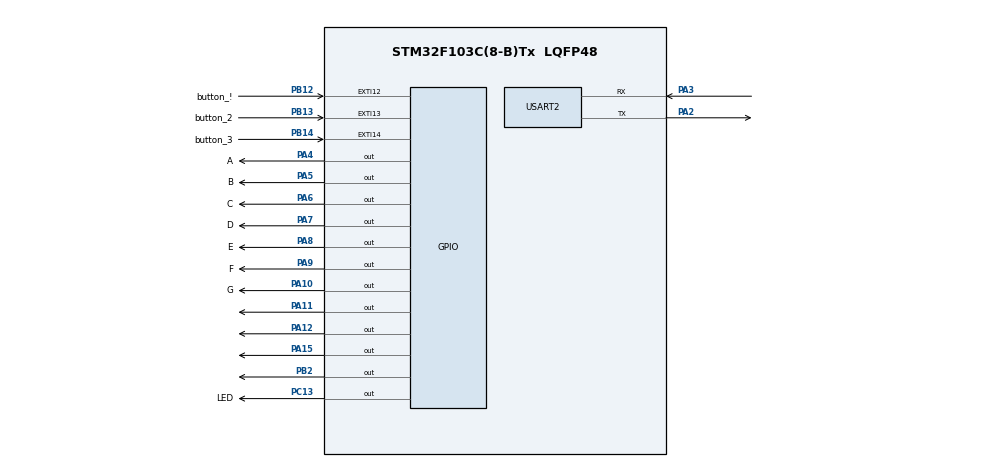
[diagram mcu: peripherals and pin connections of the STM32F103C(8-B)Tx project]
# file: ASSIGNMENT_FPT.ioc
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Mcu.Family=STM32F1
Mcu.Name=STM32F103C(8-B)Tx
Mcu.Package=LQFP48
NVIC.EXTI15_10_IRQn=true\:0\:0\:false\:false\:true\:true\:true
NVIC.PriorityGroup=NVIC_PRIORITYGROUP_4
NVIC.USART2_IRQn=true\:0\:0\:false\:false\:true\:true\:true
PA10.GPIO_Label=G
PA10.PinState=GPIO_PIN_SET
PA10.Signal=GPIO_Output
PA11.PinState=GPIO_PIN_RESET
PA11.Signal=GPIO_Output
PA12.PinState=GPIO_PIN_RESET
PA12.Signal=GPIO_Output
PA13.Mode=Serial_Wire
PA13.Signal=SYS_JTMS-SWDIO
PA14.Mode=Serial_Wire
PA14.Signal=SYS_JTCK-SWCLK
PA15.PinState=GPIO_PIN_RESET
PA15.Signal=GPIO_Output
PA2.Mode=Asynchronous
PA2.Signal=USART2_TX
PA3.Mode=Asynchronous
PA3.Signal=USART2_RX
PA4.GPIO_Label=A
PA4.PinState=GPIO_PIN_SET
PA4.Signal=GPIO_Output
PA5.GPIO_Label=B
PA5.PinState=GPIO_PIN_SET
PA5.Signal=GPIO_Output
PA6.GPIO_Label=C
PA6.PinState=GPIO_PIN_SET
PA6.Signal=GPIO_Output
PA7.GPIO_Label=D
PA7.PinState=GPIO_PIN_SET
PA7.Signal=GPIO_Output
PA8.GPIO_Label=E
PA8.PinState=GPIO_PIN_SET
PA8.Signal=GPIO_Output
PA9.GPIO_Label=F
PA9.PinState=GPIO_PIN_SET
PA9.Signal=GPIO_Output
PB12.GPIO_Label=button_\!
PB12.GPIO_PuPd=GPIO_PULLUP
PB12.Signal=GPXTI12
PB13.GPIO_Label=button_2
PB13.GPIO_PuPd=GPIO_PULLUP
PB13.Signal=GPXTI13
PB14.GPIO_Label=button_3
PB14.GPIO_PuPd=GPIO_PULLUP
PB14.Signal=GPXTI14
PB2.PinState=GPIO_PIN_RESET
PB2.Signal=GPIO_Output
PC13-TAMPER-RTC.GPIO_Label=LED
PC13-TAMPER-RTC.PinState=GPIO_PIN_SET
PC13-TAMPER-RTC.Signal=GPIO_Output
ProjectManager.HeapSize=0x200
ProjectManager.StackSize=0x400
ProjectManager.TargetToolchain=STM32CubeIDE
RCC.APB1Freq_Value=8000000
RCC.APB2Freq_Value=8000000
USART2.VirtualMode=VM_ASYNC
VP_TIM3_VS_ControllerModeClock.Mode=Clock Mode
board=custom

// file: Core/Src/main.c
/* USER CODE BEGIN Header */
/**
  ******************************************************************************
  * @file           : main.c
  * @brief          : Main program body
  ******************************************************************************
  * @attention
  *
  * <h2><center>&copy; Copyright (c) 2026 STMicroelectronics.
  * All rights reserved.</center></h2>
  *
  * This software component is licensed by ST under BSD 3-Clause license,
  * the "License"; You may not use this file except in compliance with the
  * License. You may obtain a copy of the License at:
  *                        opensource.org/licenses/BSD-3-Clause
  *
  ******************************************************************************
  */
/* USER CODE END Header */
#include "main.h"

/* USER CODE BEGIN Includes */
#include <string.h>
#include <stdint.h>
/* USER CODE END Includes */

/* USER CODE BEGIN PD */
#define TRUE 1
#define FALSE 0
/* USER CODE END PD */

UART_HandleTypeDef huart2;

/* USER CODE BEGIN PV */
volatile uint32_t count = 0;
volatile uint32_t speed = 1000;
/* USER CODE END PV */

void SystemClock_Config(void);
static void MX_GPIO_Init(void);
static void MX_USART2_UART_Init(void);
static void MX_TIM3_Init(void);
/* USER CODE BEGIN PFP */
TIM_HandleTypeDef htimer2;
void TIMER2_Init(void);
/* USER CODE END PFP */

/* USER CODE BEGIN 0 */

#define zero  0x40 // 0
#define one   0x79 // 1
#define two   0x24 // 2
#define three 0x30 // 3
#define four  0x19 // 4
#define five  0x12 // 5
#define six   0x02 // 6
#define seven 0x78 // 7
#define eight 0x00 // 8
#define nine  0x10 // 9

uint8_t numbers[] = {
    zero, one, two, three, four, five, six, seven, eight, nine
};

void displaynumbers(uint8_t number)
{
    if (number > 9) return;
    HAL_GPIO_WritePin(GPIOA, GPIO_PIN_11, GPIO_PIN_SET);
    GPIOA->ODR |= (0x7F << 4);
    GPIOA->ODR &= ~((~numbers[number] & 0x7F) << 4);
}

typedef enum
{

  BUTTON_START = 1u,
  BUTTON_PAUSE,
  BUTTON_RESUME,
  BUTTON_RESET
} Button1_State;
int state_of_button1 = 0;
int state_of_button2 = 0;

/* USER CODE END 0 */

int main(void)
{

  /* MCU Configuration--------------------------------------------------------*/

  /* Reset of all peripherals, Initializes the Flash interface and the Systick. */
  HAL_Init();

  /* USER CODE BEGIN Init */
  TIMER2_Init();

  /* USER CODE END Init */

  /* Configure the system clock */
  SystemClock_Config();

  /* Initialize all configured peripherals */
  MX_GPIO_Init();
  MX_USART2_UART_Init();
  MX_TIM3_Init();

  /* Infinite loop */
  /* USER CODE BEGIN WHILE */
  while (1)
  {
	  if (state_of_button1 == BUTTON_PAUSE)
	  {
		  HAL_TIM_Base_Stop_IT(&htimer2);
	     HAL_GPIO_WritePin(GPIOA, GPIO_PIN_11, SET);
	      HAL_GPIO_WritePin(GPIOA, GPIO_PIN_15, RESET);
	  }
	  if (state_of_button1 == BUTTON_START)
	  {
		  HAL_TIM_Base_Start_IT(&htimer2);
		      HAL_GPIO_WritePin(GPIOA, GPIO_PIN_11, RESET);
		      HAL_GPIO_WritePin(GPIOA, GPIO_PIN_15, RESET);

	  }

	  if (state_of_button1 == BUTTON_RESUME)
	  {
		  HAL_TIM_Base_Start_IT(&htimer2);
		     HAL_GPIO_WritePin(GPIOA, GPIO_PIN_11, RESET);
		      HAL_GPIO_WritePin(GPIOA, GPIO_PIN_15, SET);

	  }
	  if (state_of_button1 == BUTTON_RESET)
	  {
		  displaynumbers(count);
		  	  count = 0;
		  displaynumbers(count);
      	state_of_button1 = BUTTON_PAUSE;

	  }
	  if (count == 9)
	  {
		  HAL_GPIO_TogglePin(GPIOB, GPIO_PIN_2);
	  }

  }

    /* USER CODE END WHILE */

}

void SystemClock_Config(void)
{
  RCC_OscInitTypeDef RCC_OscInitStruct = {0};
  RCC_ClkInitTypeDef RCC_ClkInitStruct = {0};

  /** Initializes the RCC Oscillators according to the specified parameters
  * in the RCC_OscInitTypeDef structure.
  */
  RCC_OscInitStruct.OscillatorType = RCC_OSCILLATORTYPE_HSI;
  RCC_OscInitStruct.HSIState = RCC_HSI_ON;
  RCC_OscInitStruct.HSICalibrationValue = RCC_HSICALIBRATION_DEFAULT;
  RCC_OscInitStruct.PLL.PLLState = RCC_PLL_NONE;
  if (HAL_RCC_OscConfig(&RCC_OscInitStruct) != HAL_OK)
  {
    Error_Handler();
  }
  /** Initializes the CPU, AHB and APB buses clocks
  */
  RCC_ClkInitStruct.ClockType = RCC_CLOCKTYPE_HCLK|RCC_CLOCKTYPE_SYSCLK
                              |RCC_CLOCKTYPE_PCLK1|RCC_CLOCKTYPE_PCLK2;
  RCC_ClkInitStruct.SYSCLKSource = RCC_SYSCLKSOURCE_HSI;
  RCC_ClkInitStruct.AHBCLKDivider = RCC_SYSCLK_DIV1;
  RCC_ClkInitStruct.APB1CLKDivider = RCC_HCLK_DIV1;
  RCC_ClkInitStruct.APB2CLKDivider = RCC_HCLK_DIV1;

  if (HAL_RCC_ClockConfig(&RCC_ClkInitStruct, FLASH_LATENCY_0) != HAL_OK)
  {
    Error_Handler();
  }
}

static void MX_TIM3_Init(void)
{

}

static void MX_USART2_UART_Init(void)
{

  huart2.Instance = USART2;
  huart2.Init.BaudRate = 115200;
  huart2.Init.WordLength = UART_WORDLENGTH_8B;
  huart2.Init.StopBits = UART_STOPBITS_1;
  huart2.Init.Parity = UART_PARITY_NONE;
  huart2.Init.Mode = UART_MODE_TX_RX;
  huart2.Init.HwFlowCtl = UART_HWCONTROL_NONE;
  huart2.Init.OverSampling = UART_OVERSAMPLING_16;
  if (HAL_UART_Init(&huart2) != HAL_OK)
  {
    Error_Handler();
  }

}

static void MX_GPIO_Init(void)
{
  GPIO_InitTypeDef GPIO_InitStruct = {0};

  /* GPIO Ports Clock Enable */
  __HAL_RCC_GPIOC_CLK_ENABLE();
  __HAL_RCC_GPIOA_CLK_ENABLE();
  __HAL_RCC_GPIOB_CLK_ENABLE();

  /*Configure GPIO pin Output Level */
  HAL_GPIO_WritePin(LED_GPIO_Port, LED_Pin, GPIO_PIN_SET);

  /*Configure GPIO pin Output Level */
  HAL_GPIO_WritePin(GPIOA, A_Pin|B_Pin|C_Pin|D_Pin
                          |E_Pin|F_Pin|G_Pin, GPIO_PIN_SET);

  /*Configure GPIO pin Output Level */
  HAL_GPIO_WritePin(GPIOB, GPIO_PIN_2, GPIO_PIN_RESET);

  /*Configure GPIO pin Output Level */
  HAL_GPIO_WritePin(GPIOA, GPIO_PIN_11|GPIO_PIN_12|GPIO_PIN_15, GPIO_PIN_RESET);

  /*Configure GPIO pin : LED_Pin */
  GPIO_InitStruct.Pin = LED_Pin;
  GPIO_InitStruct.Mode = GPIO_MODE_OUTPUT_PP;
  GPIO_InitStruct.Pull = GPIO_NOPULL;
  GPIO_InitStruct.Speed = GPIO_SPEED_FREQ_LOW;
  HAL_GPIO_Init(LED_GPIO_Port, &GPIO_InitStruct);

  /*Configure GPIO pins : A_Pin B_Pin C_Pin D_Pin
                           E_Pin F_Pin G_Pin PA11
                           PA12 PA15 */
  GPIO_InitStruct.Pin = A_Pin|B_Pin|C_Pin|D_Pin
                          |E_Pin|F_Pin|G_Pin|GPIO_PIN_11
                          |GPIO_PIN_12|GPIO_PIN_15;
  GPIO_InitStruct.Mode = GPIO_MODE_OUTPUT_PP;
  GPIO_InitStruct.Pull = GPIO_NOPULL;
  GPIO_InitStruct.Speed = GPIO_SPEED_FREQ_LOW;
  HAL_GPIO_Init(GPIOA, &GPIO_InitStruct);

  /*Configure GPIO pin : PB2 */
  GPIO_InitStruct.Pin = GPIO_PIN_2;
  GPIO_InitStruct.Mode = GPIO_MODE_OUTPUT_PP;
  GPIO_InitStruct.Pull = GPIO_NOPULL;
  GPIO_InitStruct.Speed = GPIO_SPEED_FREQ_LOW;
  HAL_GPIO_Init(GPIOB, &GPIO_InitStruct);

  /*Configure GPIO pins : button___Pin button_2_Pin */
  GPIO_InitStruct.Pin = button___Pin|button_2_Pin;
  GPIO_InitStruct.Mode = GPIO_MODE_IT_RISING;
  GPIO_InitStruct.Pull = GPIO_PULLUP;
  HAL_GPIO_Init(GPIOB, &GPIO_InitStruct);

  /*Configure GPIO pin : button_3_Pin */
  GPIO_InitStruct.Pin = button_3_Pin;
  GPIO_InitStruct.Mode = GPIO_MODE_IT_RISING;
  GPIO_InitStruct.Pull = GPIO_PULLUP;
  HAL_GPIO_Init(button_3_GPIO_Port, &GPIO_InitStruct);

  /* EXTI interrupt init*/
  HAL_NVIC_SetPriority(EXTI15_10_IRQn, 0, 0);
  HAL_NVIC_EnableIRQ(EXTI15_10_IRQn);

}

/* USER CODE BEGIN 4 */
void HAL_GPIO_EXTI_Callback(uint16_t GPIO_Pin)
{
	static uint32_t last_time1 = 0;
	static uint32_t last_time2 = 0;
	static uint32_t last_time3 = 0;

	uint32_t current_time = HAL_GetTick();

	//  cho button 1
	 if (GPIO_Pin == GPIO_PIN_12)
	    {
	        if (current_time - last_time1 > 200)
	        {
	        	if(state_of_button1 == BUTTON_RESUME)
	        	{
	        		state_of_button1 = BUTTON_START;
	        	}
	        	++state_of_button1;
	            last_time1 = current_time;
	        }
	    }
	 // cho button 2
		 if (GPIO_Pin == GPIO_PIN_13)
		    {
		        if (current_time - last_time2 > 200)
		        {
		             state_of_button1 = BUTTON_RESET;
		            last_time2 = current_time;
		        }
		    }

		 // cho button 2
			 if (GPIO_Pin == GPIO_PIN_14)
			    {
			        if (current_time - last_time3 > 200)
			        {
			        		speed -= 200;
			        	        if (speed <= 100)
			        	        {
			        	            speed = 1000;
			        	        }

			        	        __HAL_TIM_SET_AUTORELOAD(&htimer2, speed - 1);
			        	        __HAL_TIM_SET_COUNTER(&htimer2, 0);
			        }
			    }
}
// config timer
void TIMER2_Init(void)
{
		htimer2.Instance = TIM2;
		htimer2.Init.CounterMode = TIM_COUNTERMODE_UP;
		htimer2.Init.Prescaler = 8000 - 1;
		htimer2.Init.Period = speed;
	if (HAL_TIM_Base_Init(&htimer2) != HAL_OK)
	{
		while(1);
	}
}

// timer callbackkk
void HAL_TIM_PeriodElapsedCallback(TIM_HandleTypeDef *htim)
{
	displaynumbers(count);
    count++;
    HAL_GPIO_TogglePin(GPIOA, GPIO_PIN_12);
    if (count > 9) count = 0;
}
/* USER CODE END 4 */

void Error_Handler(void)
{
  __disable_irq();
  while (1)
  {
  }
}

/************************ (C) COPYRIGHT STMicroelectronics *****END OF FILE****/
